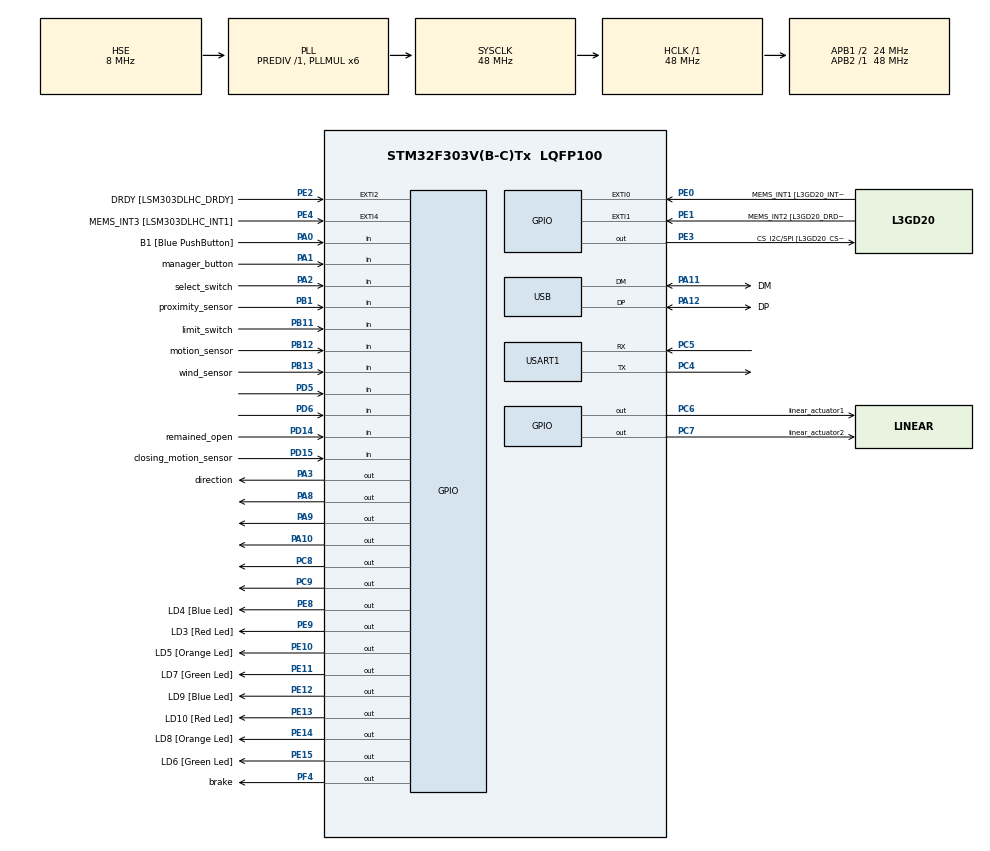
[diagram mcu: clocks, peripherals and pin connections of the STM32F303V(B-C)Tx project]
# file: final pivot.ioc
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Mcu.Family=STM32F3
Mcu.Name=STM32F303V(B-C)Tx
Mcu.Package=LQFP100
NVIC.PriorityGroup=NVIC_PRIORITYGROUP_0
PA0.GPIO_Label=B1 [Blue PushButton]
PA0.Signal=GPIO_Input
PA1.GPIO_Label=manager_button
PA1.GPIO_PuPd=GPIO_PULLDOWN
PA1.Signal=GPIO_Input
PA10.Signal=GPIO_Output
PA11.GPIO_Label=DM
PA11.Mode=Device
PA11.Signal=USB_DM
PA12.GPIO_Label=DP
PA12.Mode=Device
PA12.Signal=USB_DP
PA13.GPIO_Label=SWDIO
PA13.Mode=Serial_Wire
PA13.Signal=SYS_JTMS-SWDIO
PA14.GPIO_Label=SWCLK
PA14.Mode=Serial_Wire
PA14.Signal=SYS_JTCK-SWCLK
PA2.GPIO_Label=select_switch
PA2.GPIO_PuPd=GPIO_PULLDOWN
PA2.Signal=GPIO_Input
PA3.GPIO_Label=direction
PA3.Signal=GPIO_Output
PA5.GPIO_Label=SPI1_SCK [L3GD20_SCL/SPC]
PA5.Signal=SPI1_SCK
PA6.GPIO_Label=SPI1_MISO [L3GD20_SA0/SDO]
PA6.Signal=SPI1_MISO
PA7.GPIO_Label=SPI1_MISO [L3GD20_SDA/SDI/SDO]
PA7.Signal=SPI1_MOSI
PA8.Signal=GPIO_Output
PA9.Signal=GPIO_Output
PB1.GPIO_Label=proximity_sensor
PB1.GPIO_PuPd=GPIO_PULLUP
PB1.Signal=GPIO_Input
PB11.GPIO_Label=limit_switch
PB11.GPIO_PuPd=GPIO_PULLDOWN
PB11.Signal=GPIO_Input
PB12.GPIO_Label=motion_sensor
PB12.GPIO_PuPd=GPIO_PULLDOWN
PB12.Signal=GPIO_Input
PB13.GPIO_Label=wind_sensor
PB13.GPIO_PuPd=GPIO_PULLDOWN
PB13.Signal=GPIO_Input
PB3.GPIO_Label=SWO
PB3.Signal=SYS_JTDO-TRACESWO
PB6.GPIO_Label=I2C1_SCL [LSM303DLHC_SCL]
PB6.GPIO_Pu=GPIO_PULLUP
PB6.Signal=I2C1_SCL
PB7.GPIO_Label=I2C1_SDA [LSM303DLHC_SDA]
PB7.GPIO_Pu=GPIO_PULLUP
PB7.Signal=I2C1_SDA
PC14-OSC32_IN.GPIO_Label=OSC32_IN
PC14-OSC32_IN.Signal=RCC_OSC32_IN
PC15-OSC32_OUT.GPIO_Label=OSC32_OUT
PC15-OSC32_OUT.Signal=RCC_OSC32_OUT
PC4.Mode=Asynchronous
PC4.Signal=USART1_TX
PC5.Mode=Asynchronous
PC5.Signal=USART1_RX
PC6.GPIO_Label=linear_actuator1
PC6.Signal=GPIO_Output
PC7.GPIO_Label=linear_actuator2
PC7.Signal=GPIO_Output
PC8.Signal=GPIO_Output
PC9.Signal=GPIO_Output
PD14.GPIO_Label=remained_open
PD14.GPIO_PuPd=GPIO_PULLDOWN
PD14.Signal=GPIO_Input
PD15.GPIO_Label=closing_motion_sensor
PD15.GPIO_PuPd=GPIO_PULLUP
PD15.Signal=GPIO_Input
PD5.Signal=GPIO_Input
PD6.GPIO_PuPd=GPIO_PULLDOWN
PD6.Signal=GPIO_Input
PE0.GPIO_Label=MEMS_INT1 [L3GD20_INT1]
PE0.GPIO_ModeDefaultEXTI=GPIO_MODE_EVT_RISING
PE0.Signal=GPXTI0
PE1.GPIO_Label=MEMS_INT2 [L3GD20_DRDY/INT2]
PE1.GPIO_ModeDefaultEXTI=GPIO_MODE_EVT_RISING
PE1.Signal=GPXTI1
PE10.GPIO_Label=LD5 [Orange Led]
PE10.Signal=GPIO_Output
PE11.GPIO_Label=LD7 [Green Led]
PE11.Signal=GPIO_Output
PE12.GPIO_Label=LD9 [Blue Led]
PE12.Signal=GPIO_Output
PE13.GPIO_Label=LD10 [Red Led]
PE13.Signal=GPIO_Output
PE14.GPIO_Label=LD8 [Orange Led]
PE14.Signal=GPIO_Output
PE15.GPIO_Label=LD6 [Green Led]
PE15.Signal=GPIO_Output
PE2.GPIO_Label=DRDY [LSM303DLHC_DRDY]
PE2.GPIO_ModeDefaultEXTI=GPIO_MODE_EVT_RISING
PE2.Signal=GPXTI2
PE3.GPIO_Label=CS_I2C/SPI [L3GD20_CS_I2C/SPI]
PE3.Signal=GPIO_Output
PE4.GPIO_Label=MEMS_INT3 [LSM303DLHC_INT1]
PE4.GPIO_ModeDefaultEXTI=GPIO_MODE_EVT_RISING
PE4.Signal=GPXTI4
PE8.GPIO_Label=LD4 [Blue Led]
PE8.Signal=GPIO_Output
PE9.GPIO_Label=LD3 [Red Led]
PE9.Signal=GPIO_Output
PF0-OSC_IN.GPIO_Label=OSC_IN
PF0-OSC_IN.Mode=HSE-External-Clock-Source
PF0-OSC_IN.Signal=RCC_OSC_IN
PF1-OSC_OUT.GPIO_Label=OSC_OUT
PF1-OSC_OUT.Signal=RCC_OSC_OUT
PF4.GPIO_Label=brake
PF4.PinState=GPIO_PIN_SET
PF4.Signal=GPIO_Output
ProjectManager.HeapSize=0x200
ProjectManager.StackSize=0x400
ProjectManager.TargetToolchain=STM32CubeIDE
RCC.AHBFreq_Value=48000000
RCC.APB1CLKDivider=RCC_HCLK_DIV2
RCC.APB1Freq_Value=24000000
RCC.APB1TimFreq_Value=48000000
RCC.APB2Freq_Value=48000000
RCC.APB2TimFreq_Value=48000000
RCC.CortexFreq_Value=48000000
RCC.HCLKFreq_Value=48000000
RCC.HSE_VALUE=8000000
RCC.HSI_VALUE=8000000
RCC.LSE_VALUE=32768
RCC.PLLMUL=RCC_PLL_MUL6
RCC.SYSCLKFreq_VALUE=48000000
RCC.SYSCLKSourceVirtual=RCC_SYSCLKSOURCE_PLLCLK
RCC.USBFreq_Value=48000000
USART1.VirtualMode-Asynchronous=VM_ASYNC
board=STM32F3DISCOVERY

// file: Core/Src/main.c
/* USER CODE BEGIN Header */
/**
 ******************************************************************************
 * @file           : main.c
 * @brief          : Main program body
 ******************************************************************************
 * @attention
 *
 * <h2><center>&copy; Copyright (c) 2021 STMicroelectronics.
 * All rights reserved.</center></h2>
 *
 * This software component is licensed by ST under BSD 3-Clause license,
 * the "License"; You may not use this file except in compliance with the
 * License. You may obtain a copy of the License at:
 *                        opensource.org/licenses/BSD-3-Clause
 *
 ******************************************************************************
 */
/* USER CODE END Header */
#include "main.h"

UART_HandleTypeDef huart1;

PCD_HandleTypeDef hpcd_USB_FS;

/* USER CODE BEGIN PV */
uint32_t count = 0;
/* USER CODE END PV */

void SystemClock_Config(void);
static void MX_GPIO_Init(void);
static void MX_USB_PCD_Init(void);
static void MX_USART1_UART_Init(void);
/* USER CODE BEGIN PFP */
void initial_system_state(void);
void normal_state(uint8_t);
uint8_t manager_auth(void);
void direction(uint8_t); //O-to open;C- to close
void brake(uint8_t); //1- to brake;0- to release brake
void move_actuator(uint8_t); // L- to lock; U-to unlock;S-to stop
uint8_t actuator_state(void); // returns high when locked
uint8_t door_state(void); // returns high when closed
uint8_t select_system(void); //returns 1-normal operation;return 2-wind sensor master
uint8_t person_present(uint8_t); //input-F-to check front sensor;B-to check back sensor --> returns 1-person present;0-no person
uint8_t wind_sensor_state(void); //returns 1-wind speed high;returns 2-wind speed low
void emergency_close(void);
void remained_open(void);
uint8_t countstates(uint8_t[]);
void move_motor(uint8_t, uint8_t);
/* USER CODE END PFP */

/* USER CODE BEGIN 0 */
#define TOTAL_PULSES 2015
/* USER CODE END 0 */

int main(void) {

	/* MCU Configuration--------------------------------------------------------*/

	/* Reset of all peripherals, Initializes the Flash interface and the Systick. */
	HAL_Init();

	/* Configure the system clock */
	SystemClock_Config();

	/* Initialize all configured peripherals */
	MX_GPIO_Init();
	MX_USB_PCD_Init();
	MX_USART1_UART_Init();
	/* USER CODE BEGIN 2 */
	initial_system_state();
	/* USER CODE END 2 */

	/* Infinite loop */
	/* USER CODE BEGIN WHILE */
	while (1) {
		if (HAL_GPIO_ReadPin(GPIOD, remained_open_Pin)) {
			remained_open();
		}
		/* USER CODE END WHILE */

		/* USER CODE BEGIN 3 */
		uint8_t select_switch = select_system(); // Selection between motion sensor and wind sensor

		switch (select_switch) {
		case 1:

			normal_state(0);
			break;

		case 2:
			if (wind_sensor_state()) {
				if (!manager_auth()) {
					emergency_close();
					while (!manager_auth())
						;
				}
			}
			normal_state(1);

			break;
		}
	}
}
/* USER CODE END 3 */

void SystemClock_Config(void) {
	RCC_OscInitTypeDef RCC_OscInitStruct = { 0 };
	RCC_ClkInitTypeDef RCC_ClkInitStruct = { 0 };
	RCC_PeriphCLKInitTypeDef PeriphClkInit = { 0 };

	/** Initializes the RCC Oscillators according to the specified parameters
	 * in the RCC_OscInitTypeDef structure.
	 */
	RCC_OscInitStruct.OscillatorType = RCC_OSCILLATORTYPE_HSE;
	RCC_OscInitStruct.HSEState = RCC_HSE_BYPASS;
	RCC_OscInitStruct.HSEPredivValue = RCC_HSE_PREDIV_DIV1;
	RCC_OscInitStruct.HSIState = RCC_HSI_ON;
	RCC_OscInitStruct.PLL.PLLState = RCC_PLL_ON;
	RCC_OscInitStruct.PLL.PLLSource = RCC_PLLSOURCE_HSE;
	RCC_OscInitStruct.PLL.PLLMUL = RCC_PLL_MUL6;
	if (HAL_RCC_OscConfig(&RCC_OscInitStruct) != HAL_OK) {
		Error_Handler();
	}
	/** Initializes the CPU, AHB and APB buses clocks
	 */
	RCC_ClkInitStruct.ClockType = RCC_CLOCKTYPE_HCLK | RCC_CLOCKTYPE_SYSCLK
			| RCC_CLOCKTYPE_PCLK1 | RCC_CLOCKTYPE_PCLK2;
	RCC_ClkInitStruct.SYSCLKSource = RCC_SYSCLKSOURCE_PLLCLK;
	RCC_ClkInitStruct.AHBCLKDivider = RCC_SYSCLK_DIV1;
	RCC_ClkInitStruct.APB1CLKDivider = RCC_HCLK_DIV2;
	RCC_ClkInitStruct.APB2CLKDivider = RCC_HCLK_DIV1;

	if (HAL_RCC_ClockConfig(&RCC_ClkInitStruct, FLASH_LATENCY_1) != HAL_OK) {
		Error_Handler();
	}
	PeriphClkInit.PeriphClockSelection = RCC_PERIPHCLK_USB
			| RCC_PERIPHCLK_USART1;
	PeriphClkInit.Usart1ClockSelection = RCC_USART1CLKSOURCE_PCLK2;
	PeriphClkInit.USBClockSelection = RCC_USBCLKSOURCE_PLL;
	if (HAL_RCCEx_PeriphCLKConfig(&PeriphClkInit) != HAL_OK) {
		Error_Handler();
	}
}

static void MX_USART1_UART_Init(void) {

	huart1.Instance = USART1;
	huart1.Init.BaudRate = 38400;
	huart1.Init.WordLength = UART_WORDLENGTH_8B;
	huart1.Init.StopBits = UART_STOPBITS_1;
	huart1.Init.Parity = UART_PARITY_NONE;
	huart1.Init.Mode = UART_MODE_TX_RX;
	huart1.Init.HwFlowCtl = UART_HWCONTROL_NONE;
	huart1.Init.OverSampling = UART_OVERSAMPLING_16;
	huart1.Init.OneBitSampling = UART_ONE_BIT_SAMPLE_DISABLE;
	huart1.AdvancedInit.AdvFeatureInit = UART_ADVFEATURE_NO_INIT;
	if (HAL_UART_Init(&huart1) != HAL_OK) {
		Error_Handler();
	}

}

static void MX_USB_PCD_Init(void) {

	hpcd_USB_FS.Instance = USB;
	hpcd_USB_FS.Init.dev_endpoints = 8;
	hpcd_USB_FS.Init.speed = PCD_SPEED_FULL;
	hpcd_USB_FS.Init.phy_itface = PCD_PHY_EMBEDDED;
	hpcd_USB_FS.Init.low_power_enable = DISABLE;
	hpcd_USB_FS.Init.battery_charging_enable = DISABLE;
	if (HAL_PCD_Init(&hpcd_USB_FS) != HAL_OK) {
		Error_Handler();
	}

}

static void MX_GPIO_Init(void) {
	GPIO_InitTypeDef GPIO_InitStruct = { 0 };

	/* GPIO Ports Clock Enable */
	__HAL_RCC_GPIOE_CLK_ENABLE();
	__HAL_RCC_GPIOC_CLK_ENABLE();
	__HAL_RCC_GPIOF_CLK_ENABLE();
	__HAL_RCC_GPIOA_CLK_ENABLE();
	__HAL_RCC_GPIOB_CLK_ENABLE();
	__HAL_RCC_GPIOD_CLK_ENABLE();

	/*Configure GPIO pin Output Level */
	HAL_GPIO_WritePin(GPIOE,
			CS_I2C_SPI_Pin | LD4_Pin | LD3_Pin | LD5_Pin | LD7_Pin | LD9_Pin
					| LD10_Pin | LD8_Pin | LD6_Pin, GPIO_PIN_RESET);

	/*Configure GPIO pin Output Level */
	HAL_GPIO_WritePin(GPIOA,
			direction_Pin | GPIO_PIN_8 | GPIO_PIN_9 | GPIO_PIN_10,
			GPIO_PIN_RESET);

	/*Configure GPIO pin Output Level */
	HAL_GPIO_WritePin(brake_GPIO_Port, brake_Pin, GPIO_PIN_SET);

	/*Configure GPIO pin Output Level */
	HAL_GPIO_WritePin(GPIOC,
			linear_actuator1_Pin | linear_actuator2_Pin | GPIO_PIN_8
					| GPIO_PIN_9, GPIO_PIN_RESET);

	/*Configure GPIO pins : DRDY_Pin MEMS_INT3_Pin MEMS_INT1_Pin MEMS_INT2_Pin */
	GPIO_InitStruct.Pin = DRDY_Pin | MEMS_INT3_Pin | MEMS_INT1_Pin
			| MEMS_INT2_Pin;
	GPIO_InitStruct.Mode = GPIO_MODE_EVT_RISING;
	GPIO_InitStruct.Pull = GPIO_NOPULL;
	HAL_GPIO_Init(GPIOE, &GPIO_InitStruct);

	/*Configure GPIO pins : CS_I2C_SPI_Pin LD4_Pin LD3_Pin LD5_Pin
	 LD7_Pin LD9_Pin LD10_Pin LD8_Pin
	 LD6_Pin */
	GPIO_InitStruct.Pin = CS_I2C_SPI_Pin | LD4_Pin | LD3_Pin | LD5_Pin | LD7_Pin
			| LD9_Pin | LD10_Pin | LD8_Pin | LD6_Pin;
	GPIO_InitStruct.Mode = GPIO_MODE_OUTPUT_PP;
	GPIO_InitStruct.Pull = GPIO_NOPULL;
	GPIO_InitStruct.Speed = GPIO_SPEED_FREQ_LOW;
	HAL_GPIO_Init(GPIOE, &GPIO_InitStruct);

	/*Configure GPIO pin : B1_Pin */
	GPIO_InitStruct.Pin = B1_Pin;
	GPIO_InitStruct.Mode = GPIO_MODE_INPUT;
	GPIO_InitStruct.Pull = GPIO_NOPULL;
	HAL_GPIO_Init(B1_GPIO_Port, &GPIO_InitStruct);

	/*Configure GPIO pins : manager_button_Pin select_switch_Pin */
	GPIO_InitStruct.Pin = manager_button_Pin | select_switch_Pin;
	GPIO_InitStruct.Mode = GPIO_MODE_INPUT;
	GPIO_InitStruct.Pull = GPIO_PULLDOWN;
	HAL_GPIO_Init(GPIOA, &GPIO_InitStruct);

	/*Configure GPIO pins : direction_Pin PA8 PA9 PA10 */
	GPIO_InitStruct.Pin = direction_Pin | GPIO_PIN_8 | GPIO_PIN_9 | GPIO_PIN_10;
	GPIO_InitStruct.Mode = GPIO_MODE_OUTPUT_PP;
	GPIO_InitStruct.Pull = GPIO_NOPULL;
	GPIO_InitStruct.Speed = GPIO_SPEED_FREQ_LOW;
	HAL_GPIO_Init(GPIOA, &GPIO_InitStruct);

	/*Configure GPIO pin : brake_Pin */
	GPIO_InitStruct.Pin = brake_Pin;
	GPIO_InitStruct.Mode = GPIO_MODE_OUTPUT_PP;
	GPIO_InitStruct.Pull = GPIO_NOPULL;
	GPIO_InitStruct.Speed = GPIO_SPEED_FREQ_LOW;
	HAL_GPIO_Init(brake_GPIO_Port, &GPIO_InitStruct);

	/*Configure GPIO pins : SPI1_SCK_Pin SPI1_MISO_Pin SPI1_MISOA7_Pin */
	GPIO_InitStruct.Pin = SPI1_SCK_Pin | SPI1_MISO_Pin | SPI1_MISOA7_Pin;
	GPIO_InitStruct.Mode = GPIO_MODE_AF_PP;
	GPIO_InitStruct.Pull = GPIO_NOPULL;
	GPIO_InitStruct.Speed = GPIO_SPEED_FREQ_HIGH;
	GPIO_InitStruct.Alternate = GPIO_AF5_SPI1;
	HAL_GPIO_Init(GPIOA, &GPIO_InitStruct);

	/*Configure GPIO pin : proximity_sensor_Pin */
	GPIO_InitStruct.Pin = proximity_sensor_Pin;
	GPIO_InitStruct.Mode = GPIO_MODE_INPUT;
	GPIO_InitStruct.Pull = GPIO_PULLUP;
	HAL_GPIO_Init(proximity_sensor_GPIO_Port, &GPIO_InitStruct);

	/*Configure GPIO pins : limit_switch_Pin motion_sensor_Pin wind_sensor_Pin */
	GPIO_InitStruct.Pin =
			limit_switch_Pin | motion_sensor_Pin | wind_sensor_Pin;
	GPIO_InitStruct.Mode = GPIO_MODE_INPUT;
	GPIO_InitStruct.Pull = GPIO_PULLDOWN;
	HAL_GPIO_Init(GPIOB, &GPIO_InitStruct);

	/*Configure GPIO pins : remained_open_Pin PD6 */
	GPIO_InitStruct.Pin = remained_open_Pin | GPIO_PIN_6;
	GPIO_InitStruct.Mode = GPIO_MODE_INPUT;
	GPIO_InitStruct.Pull = GPIO_PULLDOWN;
	HAL_GPIO_Init(GPIOD, &GPIO_InitStruct);

	/*Configure GPIO pin : closing_motion_sensor_Pin */
	GPIO_InitStruct.Pin = closing_motion_sensor_Pin;
	GPIO_InitStruct.Mode = GPIO_MODE_INPUT;
	GPIO_InitStruct.Pull = GPIO_PULLUP;
	HAL_GPIO_Init(closing_motion_sensor_GPIO_Port, &GPIO_InitStruct);

	/*Configure GPIO pins : linear_actuator1_Pin linear_actuator2_Pin PC8 PC9 */
	GPIO_InitStruct.Pin = linear_actuator1_Pin | linear_actuator2_Pin
			| GPIO_PIN_8 | GPIO_PIN_9;
	GPIO_InitStruct.Mode = GPIO_MODE_OUTPUT_PP;
	GPIO_InitStruct.Pull = GPIO_NOPULL;
	GPIO_InitStruct.Speed = GPIO_SPEED_FREQ_LOW;
	HAL_GPIO_Init(GPIOC, &GPIO_InitStruct);

	/*Configure GPIO pin : PD5 */
	GPIO_InitStruct.Pin = GPIO_PIN_5;
	GPIO_InitStruct.Mode = GPIO_MODE_INPUT;
	GPIO_InitStruct.Pull = GPIO_NOPULL;
	HAL_GPIO_Init(GPIOD, &GPIO_InitStruct);

	/*Configure GPIO pins : I2C1_SCL_Pin I2C1_SDA_Pin */
	GPIO_InitStruct.Pin = I2C1_SCL_Pin | I2C1_SDA_Pin;
	GPIO_InitStruct.Mode = GPIO_MODE_AF_OD;
	GPIO_InitStruct.Pull = GPIO_PULLUP;
	GPIO_InitStruct.Speed = GPIO_SPEED_FREQ_HIGH;
	GPIO_InitStruct.Alternate = GPIO_AF4_I2C1;
	HAL_GPIO_Init(GPIOB, &GPIO_InitStruct);

}

/* USER CODE BEGIN 4 */

uint8_t person_present(uint8_t side) {

	HAL_Delay(20);
	if (side == 'F')
		return HAL_GPIO_ReadPin(GPIOB, motion_sensor_Pin);
	else if (side == 'B')
		return !HAL_GPIO_ReadPin(GPIOD, closing_motion_sensor_Pin);
}

void move_actuator(uint8_t state) {
	if (state == 'L') {
		HAL_GPIO_WritePin(GPIOC, linear_actuator1_Pin, GPIO_PIN_RESET);
		HAL_Delay(20);
		HAL_GPIO_WritePin(GPIOC, linear_actuator2_Pin, GPIO_PIN_SET);
		HAL_Delay(50);
	} else if (state == 'U') {
		HAL_GPIO_WritePin(GPIOC, linear_actuator2_Pin, GPIO_PIN_RESET);
		HAL_Delay(20);
		HAL_GPIO_WritePin(GPIOC, linear_actuator1_Pin, GPIO_PIN_SET);
		HAL_Delay(50);

	} else if (state == 'S') {
		HAL_GPIO_WritePin(GPIOC, linear_actuator2_Pin, GPIO_PIN_RESET);
		HAL_Delay(20);
		HAL_GPIO_WritePin(GPIOC, linear_actuator1_Pin, GPIO_PIN_RESET);
		HAL_Delay(50);
	}

}
uint8_t actuator_state(void) {

	HAL_Delay(20);
	return HAL_GPIO_ReadPin(GPIOB, proximity_sensor_Pin);

}
uint8_t door_state(void) {

	HAL_Delay(20);
	return HAL_GPIO_ReadPin(GPIOB, limit_switch_Pin);

}
void direction(uint8_t dir) {
	if (dir == 'C')
		HAL_GPIO_WritePin(GPIOA, GPIO_PIN_3, GPIO_PIN_RESET);
	else if (dir == 'O')
		HAL_GPIO_WritePin(GPIOA, GPIO_PIN_3, GPIO_PIN_SET);

}

void brake(uint8_t state) {

	if (state)
		HAL_GPIO_WritePin(GPIOF, GPIO_PIN_4, GPIO_PIN_SET);
	else
		HAL_GPIO_WritePin(GPIOF, GPIO_PIN_4, GPIO_PIN_RESET);

}
uint8_t wind_sensor_state(void) {

	HAL_Delay(10);
	return HAL_GPIO_ReadPin(GPIOB, wind_sensor_Pin);

}

void initial_system_state(void) {
	brake(1);  // Break while door opening
	HAL_Delay(50);

	direction('C');
	HAL_Delay(20);
	brake(0);
	HAL_Delay(20);

	while (!door_state()) {
		HAL_Delay(10);
	}
	brake(1);
	HAL_Delay(20);
	move_actuator('L');
	while (!actuator_state()) {
		HAL_Delay(10);
	}
	move_actuator('S');

}

uint8_t select_system(void) {
	HAL_Delay(10);
	uint8_t system_state = HAL_GPIO_ReadPin(GPIOA, select_switch_Pin);

	if (system_state)
		return 2;
	else
		return 1;

}

void normal_state(uint8_t override) {
	uint32_t rising_flag = 0;
	char uart_buf[50];
	int uart_buf_len;
	while (!HAL_GPIO_ReadPin(GPIOD, remained_open_Pin)) {

		if (person_present('F') && (!HAL_GPIO_ReadPin(GPIOD, GPIO_PIN_6))) {
			if (actuator_state()) {
				move_actuator('U');
				while (actuator_state()) {
					HAL_Delay(20);
				}
				move_actuator('S');
			}
			/* direction('O');
			 brake(0);
			 HAL_Delay(17000);
			 brake(1);*/
			move_motor('O', 90);
			HAL_Delay(5000);
			direction('C');
			brake(0);
			while (!door_state()) {
				if (!rising_flag) {

					if (HAL_GPIO_ReadPin(GPIOD, GPIO_PIN_5)) {

						count++;
						rising_flag = 1;
					}
				} else {
					if (!HAL_GPIO_ReadPin(GPIOD, GPIO_PIN_5)) {

						rising_flag = 0;
					}

				}
				uart_buf_len = sprintf(uart_buf, "%lu count\r\n", count);
				HAL_UART_Transmit(&huart1, &uart_buf, uart_buf_len + 1, 100);

				while (person_present('B') && (count < 503)) {
					direction('O');
					brake(0);
					if (!rising_flag) {

						if (HAL_GPIO_ReadPin(GPIOD, GPIO_PIN_5)) {

							count++;
							rising_flag = 1;
						}
					} else {
						if (!HAL_GPIO_ReadPin(GPIOD, GPIO_PIN_5)) {

							rising_flag = 0;
						}

					}
					uart_buf_len = sprintf(uart_buf, "%lu count\r\n", count);
					HAL_UART_Transmit(&huart1, &uart_buf, uart_buf_len + 1,
							100);
					//HAL_Delay(2000);
					// if(!person_present('B'))
					//{

					// }
					//HAL_Delay(200);

					HAL_Delay(200);
				}

				//direction('C');
			}
			brake(1);
			if (door_state() && (!override)) {

				move_actuator('L');
				while (!actuator_state()) {
					HAL_Delay(20);
				}
				move_actuator('S');

			}
		} else {
			if (HAL_GPIO_ReadPin(GPIOD, GPIO_PIN_6)) {
				if (person_present('B')) {
					if (actuator_state()) {
						move_actuator('U');
						while (actuator_state()) {
							HAL_Delay(20);
						}
						move_actuator('S');
					}
					direction('O');
					brake(0);
					HAL_Delay(15000);
					brake(1);
					HAL_Delay(5000);
					direction('C');
					brake(0);
					while (!door_state()) {
						HAL_Delay(50);
					}
					brake(1);
					if (door_state() && (!override)) {

						move_actuator('L');
						while (!actuator_state()) {
							HAL_Delay(20);
						}
						move_actuator('S');

					}
				}

			}
		}

	}
}
void emergency_close(void) {
	if (!door_state()) {

		if (actuator_state()) {
			move_actuator('U');
			while (actuator_state()) {
				HAL_Delay(20);
			}
			move_actuator('S');

		}
		direction('C');
		brake(0);
		while (!door_state()) {
			HAL_Delay(20);
		}
		brake(1);
		move_actuator('L');
		while (!actuator_state()) {
			HAL_Delay(20);
		}
		move_actuator('S');

	}

}
void remained_open(void) {
	if (HAL_GPIO_ReadPin(GPIOD, remained_open_Pin)) {
		if (actuator_state()) {
			move_actuator('U');
			while (actuator_state()) {
				HAL_Delay(20);
			}
			move_actuator('S');
		}
		brake(0);
		direction('O');
		HAL_Delay(17000);
		brake(1);
		while (HAL_GPIO_ReadPin(GPIOD, remained_open_Pin)) {
			HAL_Delay(50);
		}
		direction('C');
		brake(0);
		while (!door_state()) {
			HAL_Delay(50);
		}
		brake(1);
		move_actuator('L');
		while (!actuator_state()) {
			HAL_Delay(20);
		}
		move_actuator('S');
	}
}
uint8_t manager_auth(void) {

	HAL_Delay(10);
	return HAL_GPIO_ReadPin(GPIOA, manager_button_Pin);
}
uint8_t countstates(uint8_t states[]) {
	uint8_t countpos = 0;
	for (int i = 0; i < (sizeof(states) / sizeof(states[0])); i++) {
		if (states[i] < 1) {
			countpos = 0;
			break;
		} else
			countpos = 1;
	}
	return countpos;

}
void move_motor(uint8_t dir, uint8_t degree) {
	char uart_buf[50];
	int uart_buf_len;
	uint32_t rising_flag = 0;
	//uint32_t count= 0;
	uint32_t pulses = 0;
	pulses = (degree * TOTAL_PULSES) / 360;
	direction(dir);
	brake(0);

	while (count < pulses) {
		if (!rising_flag) {

			if (HAL_GPIO_ReadPin(GPIOD, GPIO_PIN_5)) {

				count++;
				rising_flag = 1;
			}
		} else {
			if (!HAL_GPIO_ReadPin(GPIOD, GPIO_PIN_5)) {

				rising_flag = 0;
			}

		}

		//for(uint32_t i=0;i<10000;i++);
		uart_buf_len = sprintf(uart_buf, "%lu count\r\n", count);
		HAL_UART_Transmit(&huart1, &uart_buf, uart_buf_len + 1, 100);

	}

	brake(1);
}
/* USER CODE END 4 */

void Error_Handler(void) {
	__disable_irq();
	while (1) {
	}
}

/************************ (C) COPYRIGHT STMicroelectronics *****END OF FILE****/
